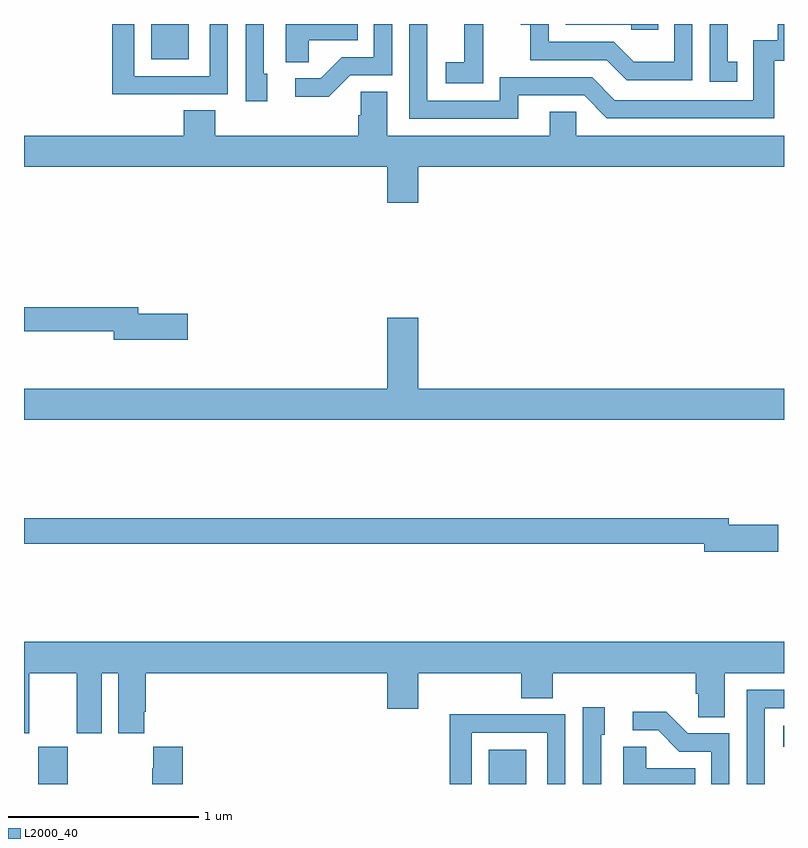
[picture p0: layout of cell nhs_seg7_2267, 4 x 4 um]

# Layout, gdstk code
import gdstk
lib = gdstk.Library(unit=1e-6, precision=1e-09)
def R(c, l, rs):  # rectangles x0, y0, x1, y1
    for r in rs: c.add(gdstk.rectangle(r[:2], r[2:], *l))
def P(c, l, *ps):  # polygons
    for p in ps: c.add(gdstk.Polygon(p, *l))
L2000_40 = (2000, 40)

nhs_seg7_2267 = lib.new_cell('nhs_seg7_2267')
R(nhs_seg7_2267, L2000_40, [(259.075,1032,259.23,1032.196), (261.446,1032,261.643,1032.181), (262.995,1032.197,263,1032.307), (259.67,1035.815,259.867,1036)])
P(nhs_seg7_2267, L2000_40, [(261.601,1035.624),(261.948,1035.624),(262.068,1035.504),(262.948,1035.504),(262.948,1035.807),(263,1035.807),(263,1036),(262.968,1036),(262.968,1035.915),(262.839,1035.915),(262.839,1035.6),(262.11,1035.6),(261.99,1035.72),(261.504,1035.72),(261.504,1035.597),(261.123,1035.597),(261.123,1036),(261.027,1036),(261.027,1035.501),(261.601,1035.501)],
  [(260.281,1035.738),(260.262,1035.738),(260.262,1036),(260.166,1036),(260.166,1035.594),(260.281,1035.594)],
  [(260.718,1035.729),(260.937,1035.729),(260.937,1036),(260.841,1036),(260.841,1035.825),(260.672,1035.825),(260.561,1035.714),(260.427,1035.714),(260.427,1035.617),(260.605,1035.617)],
  [(262.518,1036),(262.422,1036),(262.422,1035.802),(262.208,1035.802),(262.104,1035.906),(261.762,1035.906),(261.762,1036),(261.615,1036),(261.615,1035.995),(261.664,1035.995),(261.664,1035.81),(262.067,1035.81),(262.172,1035.705),(262.518,1035.705)],
  [(259.757,1035.63),(260.073,1035.63),(260.073,1036),(259.977,1036),(259.977,1035.726),(259.581,1035.726),(259.581,1036),(259.465,1036),(259.465,1035.629),(259.757,1035.629)],
  [(262.754,1035.801),(262.705,1035.801),(262.705,1036),(262.608,1036),(262.608,1035.696),(262.754,1035.696)],
  [(260.499,1035.914),(260.756,1035.914),(260.756,1036),(260.378,1036),(260.378,1035.799),(260.499,1035.799)],
  [(262.337,1036),(261.852,1036),(261.852,1035.996),(262.197,1035.996),(262.197,1035.969),(262.337,1035.969)],
  [(261.416,1036),(261.317,1036),(261.317,1035.799),(261.219,1035.799),(261.219,1035.689),(261.416,1035.689)],
  [(261.076,1035.248),(263,1035.248),(263,1035.412),(261.906,1035.412),(261.906,1035.539),(261.767,1035.539),(261.767,1035.412),(260.911,1035.412),(260.911,1035.644),(260.772,1035.644),(260.772,1035.521),(260.759,1035.521),(260.759,1035.412),(260.006,1035.412),(260.006,1035.545),(259.841,1035.545),(259.841,1035.412),(259,1035.412),(259,1035.248),(260.912,1035.248),(260.912,1035.06),(261.076,1035.06)],
  [(259.861,1034.474),(259.6,1034.474),(259.6,1034.51),(259,1034.51),(259,1034.382),(259.472,1034.382),(259.472,1034.339),(259.861,1034.339)],
  [(263,1034.08),(261.076,1034.08),(261.076,1034.455),(260.912,1034.455),(260.912,1034.08),(259,1034.08),(259,1033.916),(263,1033.916)],
  [(262.969,1033.364),(262.708,1033.364),(262.708,1033.4),(259,1033.4),(259,1033.264),(262.58,1033.264),(262.58,1033.222),(262.969,1033.222)],
  [(259.027,1032.584),(259.277,1032.584),(259.277,1032.267),(259.408,1032.267),(259.408,1032.584),(259.496,1032.584),(259.496,1032.267),(259.633,1032.267),(259.633,1032.379),(259.64,1032.379),(259.64,1032.584),(260.912,1032.584),(260.912,1032.396),(261.076,1032.396),(261.076,1032.584),(261.617,1032.584),(261.617,1032.451),(261.782,1032.451),(261.782,1032.584),(262.535,1032.584),(262.535,1032.475),(262.548,1032.475),(262.548,1032.352),(262.687,1032.352),(262.687,1032.584),(263,1032.584),(263,1032.748),(259,1032.748),(259,1032.267),(259.027,1032.267)],
  [(262.899,1032.399),(263,1032.399),(263,1032.495),(262.803,1032.495),(262.803,1032),(262.899,1032)],
  [(262.038,1032.258),(262.057,1032.258),(262.057,1032.403),(261.942,1032.403),(261.942,1032),(262.038,1032)],
  [(262.713,1032.267),(262.494,1032.267),(262.381,1032.38),(262.203,1032.38),(262.203,1032.282),(262.337,1032.282),(262.448,1032.171),(262.617,1032.171),(262.617,1032),(262.713,1032)],
  [(261.357,1032.27),(261.753,1032.27),(261.753,1032),(261.849,1032),(261.849,1032.366),(261.533,1032.366),(261.533,1032.368),(261.241,1032.368),(261.241,1032),(261.357,1032)],
  [(262.532,1032.082),(262.275,1032.082),(262.275,1032.197),(262.154,1032.197),(262.154,1032),(262.532,1032)],
  [(259.835,1032.196),(259.679,1032.196),(259.679,1032.083),(259.675,1032.083),(259.675,1032),(259.835,1032)])

lib.write_gds('nhs_seg7_2267.gds')
